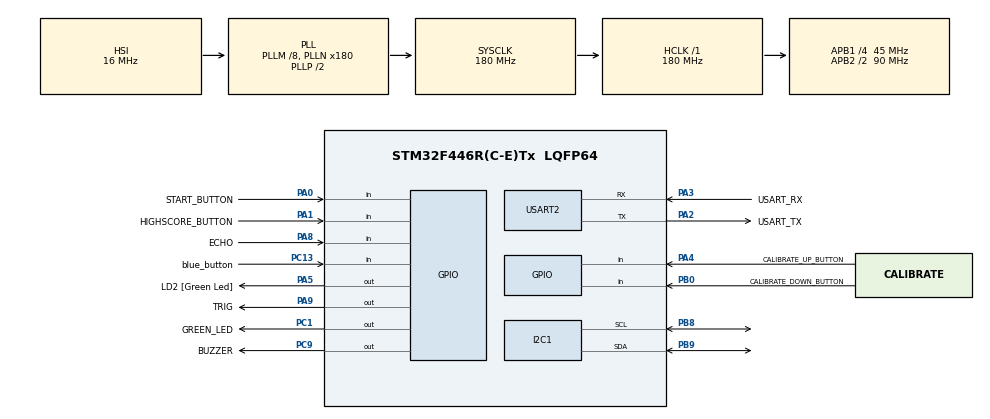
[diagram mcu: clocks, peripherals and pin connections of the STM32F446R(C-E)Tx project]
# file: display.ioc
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I2C1.I2C_Mode=I2C_Fast
Mcu.Family=STM32F4
Mcu.Name=STM32F446R(C-E)Tx
Mcu.Package=LQFP64
NVIC.PriorityGroup=NVIC_PRIORITYGROUP_0
NVIC.TIM2_IRQn=true\:0\:0\:false\:false\:true\:true\:true\:true
PA0-WKUP.GPIO_Label=START_BUTTON
PA0-WKUP.GPIO_PuPd=GPIO_PULLUP
PA0-WKUP.Signal=GPIO_Input
PA1.GPIO_Label=HIGHSCORE_BUTTON
PA1.GPIO_PuPd=GPIO_PULLUP
PA1.Signal=GPIO_Input
PA13.GPIO_Label=TMS
PA13.Mode=Serial_Wire
PA13.Signal=SYS_JTMS-SWDIO
PA14.GPIO_Label=TCK
PA14.Mode=Serial_Wire
PA14.Signal=SYS_JTCK-SWCLK
PA2.GPIO_Label=USART_TX
PA2.Mode=Asynchronous
PA2.Signal=USART2_TX
PA3.GPIO_Label=USART_RX
PA3.Mode=Asynchronous
PA3.Signal=USART2_RX
PA4.GPIO_Label=CALIBRATE_UP_BUTTON
PA4.Signal=GPIO_Input
PA5.GPIO_Label=LD2 [Green Led]
PA5.Signal=GPIO_Output
PA8.GPIO_Label=ECHO
PA8.Signal=GPIO_Input
PA9.GPIO_Label=TRIG
PA9.Signal=GPIO_Output
PB0.GPIO_Label=CALIBRATE_DOWN_BUTTON
PB0.Signal=GPIO_Input
PB3.GPIO_Label=SWO
PB3.Signal=SYS_JTDO-SWO
PB8.Mode=I2C
PB8.Signal=I2C1_SCL
PB9.Mode=I2C
PB9.Signal=I2C1_SDA
PC1.GPIO_Label=GREEN_LED
PC1.Signal=GPIO_Output
PC13.GPIO_Label=blue_button
PC13.Signal=GPIO_Input
PC14-OSC32_IN.Mode=LSE-External-Oscillator
PC14-OSC32_IN.Signal=RCC_OSC32_IN
PC15-OSC32_OUT.Mode=LSE-External-Oscillator
PC15-OSC32_OUT.Signal=RCC_OSC32_OUT
PC9.GPIO_Label=BUZZER
PC9.Signal=GPIO_Output
PH0-OSC_IN.Mode=HSE-External-Oscillator
PH0-OSC_IN.Signal=RCC_OSC_IN
PH1-OSC_OUT.Mode=HSE-External-Oscillator
PH1-OSC_OUT.Signal=RCC_OSC_OUT
ProjectManager.HeapSize=0x200
ProjectManager.StackSize=0x400
ProjectManager.TargetToolchain=STM32CubeIDE
RCC.48MHZClocksFreq_Value=84000000
RCC.AHBFreq_Value=180000000
RCC.APB1CLKDivider=RCC_HCLK_DIV4
RCC.APB1Freq_Value=45000000
RCC.APB1TimFreq_Value=90000000
RCC.APB2CLKDivider=RCC_HCLK_DIV2
RCC.APB2Freq_Value=90000000
RCC.APB2TimFreq_Value=180000000
RCC.CortexFreq_Value=180000000
RCC.FLatency-AdvancedSettings=FLASH_LATENCY_5
RCC.HCLKFreq_Value=180000000
RCC.HSE_VALUE=8000000
RCC.HSI_VALUE=16000000
RCC.PLLM=8
RCC.PLLN=180
RCC.SYSCLKFreq_VALUE=180000000
RCC.SYSCLKSource=RCC_SYSCLKSOURCE_PLLCLK
RCC.USBFreq_Value=180000000
RCC.VCOOutputFreq_Value=360000000
TIM1.Period=65535
TIM1.Prescaler=180-1
TIM2.Period=9000-1
TIM2.Prescaler=10000-1
USART2.VirtualMode=VM_ASYNC
VP_TIM1_VS_ClockSourceINT.Mode=Internal
VP_TIM2_VS_ClockSourceINT.Mode=Internal
board=NUCLEO-F446RE

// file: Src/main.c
/* USER CODE BEGIN Header */
/**
  ******************************************************************************
  * @file           : main.c
  * @brief          : Main program body
  ******************************************************************************
  * @attention
  *
  * Copyright (c) 2026 STMicroelectronics.
  * All rights reserved.
  *
  * This software is licensed under terms that can be found in the LICENSE file
  * in the root directory of this software component.
  * If no LICENSE file comes with this software, it is provided AS-IS.
  *
  ******************************************************************************
  */
/* USER CODE END Header */
#include "main.h"

/* USER CODE BEGIN Includes */
#include "ssd1306.h"
#include "ssd1306_tests.h"
#include "ssd1306_fonts.h"
#include "ssd1306_conf.h"
#include <stdio.h>
#include <string.h>
#include "FLASH_SECTOR_F4.h"
/* USER CODE END Includes */

/* USER CODE BEGIN PTD */
typedef enum {
	SCREEN_START,
	SCREEN_REP,
	SCREEN_DEBUG,
	SCREEN_HIGHSCORE,
	SCREEN_GAMEOVER
} Screen;
/* USER CODE END PTD */

I2C_HandleTypeDef hi2c1;

TIM_HandleTypeDef htim1;
TIM_HandleTypeDef htim2;

UART_HandleTypeDef huart2;

/* USER CODE BEGIN PV */
static int start_pressed = 0; // boolean
static int highscore_pressed = 0; // boolean
static int calibrate_down_pressed = 0; // boolean
static int calibrate_up_pressed = 0; // boolean
static int debug_pressed = 0; // boolean
static int canPushUp = 0; // boolean

// drawStart instance variables
static int xStart = 128;
static int speed = 2;

static Screen current_screen = SCREEN_START;
static int pushup_count = 0;
static uint32_t hiScore; // read by flash drive on system initialization
static int isGameOver = 0; // boolean
static int isHighScore = 0; // boolean
static const int startTime = 60;
static int countdown = startTime;
static int calibrate_up = 0;
static int calibrate_down = 0;

// Utrasonic sensor variables
static uint32_t pMillis;
static uint16_t distance  = 0;  // cm

/* USER CODE END PV */

void SystemClock_Config(void);
static void MX_GPIO_Init(void);
static void MX_USART2_UART_Init(void);
static void MX_I2C1_Init(void);
static void MX_TIM2_Init(void);
static void MX_TIM1_Init(void);
/* USER CODE BEGIN PFP */
static void drawReps(void);
static void drawStart(void);
static void drawHighScore(void);
static void drawGameOver(void);
static void drawTimer(void);
static void drawDistance(void);
static void drawCalibrations(void);
static int readStartButton(void);
static int readHighScoreButton(void);
static int readCalibrateDownButton(void);
static int readCalibrateUpButton(void);
static int readDebugButton(void);
void readUltraSonic(void);
static void buzz(int time);
static void checkForPushUp(void);
static void reset(void);

/* USER CODE END PFP */

int main(void)
{

  /* MCU Configuration--------------------------------------------------------*/

  /* Reset of all peripherals, Initializes the Flash interface and the Systick. */
  HAL_Init();

  /* Configure the system clock */
  SystemClock_Config();

  /* Initialize all configured peripherals */
  MX_GPIO_Init();
  MX_USART2_UART_Init();
  MX_I2C1_Init();
  MX_TIM2_Init();
  MX_TIM1_Init();
  /* USER CODE BEGIN 2 */
  ssd1306_Init();
  Flash_Read_Data(0x08060000, &hiScore, 5);
  HAL_TIM_Base_Start(&htim1);
  HAL_GPIO_WritePin(TRIG_GPIO_Port, TRIG_Pin, GPIO_PIN_RESET);  // pull the TRIG pin low initially
  buzz(15000);
  isGameOver = 0;
  /* USER CODE END 2 */

  /* Infinite loop */
  /* USER CODE BEGIN WHILE */
  while (1)
  {
	  switch (current_screen) {
		  case SCREEN_START:
			  readCalibrateUpButton();
			  readCalibrateDownButton();
			  readDebugButton();
			  drawStart();
			  if(readStartButton() == 1)
				  current_screen = SCREEN_REP;
			  else if(readHighScoreButton() == 1)
				  current_screen = SCREEN_HIGHSCORE;
			  else if (readDebugButton() == 1)
				  current_screen = SCREEN_DEBUG;
			  break;
		  case SCREEN_REP:
			  readUltraSonic();
			  checkForPushUp();
			  drawTimer();
			  drawReps();
			  if (countdown == 0)
				  current_screen = SCREEN_GAMEOVER;
			  else if (readStartButton() == 1) {
				  current_screen = SCREEN_START;
				  reset();
			  }
			  else if (readDebugButton() == 1)
				  current_screen = SCREEN_DEBUG;
			  break;
		  case SCREEN_DEBUG:
			  readCalibrateUpButton();
			  readCalibrateDownButton();
			  readUltraSonic();
			  drawDistance();
			  drawCalibrations();
			  if (readDebugButton() == 1)
				  current_screen = SCREEN_START;
			  break;
		  case SCREEN_HIGHSCORE:
			  drawHighScore();
			  if (readStartButton() == 1) {
				  current_screen = SCREEN_START;
				  reset();
			  }
			  break;
		  case SCREEN_GAMEOVER:
			  drawGameOver();
			  if (readStartButton() == 1) {
				  current_screen = SCREEN_START;
				  reset();
			  }
			  break;
	  }
  }

    /* USER CODE END WHILE */

}

void SystemClock_Config(void)
{
  RCC_OscInitTypeDef RCC_OscInitStruct = {0};
  RCC_ClkInitTypeDef RCC_ClkInitStruct = {0};

  /** Configure the main internal regulator output voltage
  */
  __HAL_RCC_PWR_CLK_ENABLE();
  __HAL_PWR_VOLTAGESCALING_CONFIG(PWR_REGULATOR_VOLTAGE_SCALE1);

  /** Initializes the RCC Oscillators according to the specified parameters
  * in the RCC_OscInitTypeDef structure.
  */
  RCC_OscInitStruct.OscillatorType = RCC_OSCILLATORTYPE_HSI;
  RCC_OscInitStruct.HSIState = RCC_HSI_ON;
  RCC_OscInitStruct.HSICalibrationValue = RCC_HSICALIBRATION_DEFAULT;
  RCC_OscInitStruct.PLL.PLLState = RCC_PLL_ON;
  RCC_OscInitStruct.PLL.PLLSource = RCC_PLLSOURCE_HSI;
  RCC_OscInitStruct.PLL.PLLM = 8;
  RCC_OscInitStruct.PLL.PLLN = 180;
  RCC_OscInitStruct.PLL.PLLP = RCC_PLLP_DIV2;
  RCC_OscInitStruct.PLL.PLLQ = 2;
  RCC_OscInitStruct.PLL.PLLR = 2;
  if (HAL_RCC_OscConfig(&RCC_OscInitStruct) != HAL_OK)
  {
    Error_Handler();
  }

  /** Activate the Over-Drive mode
  */
  if (HAL_PWREx_EnableOverDrive() != HAL_OK)
  {
    Error_Handler();
  }

  /** Initializes the CPU, AHB and APB buses clocks
  */
  RCC_ClkInitStruct.ClockType = RCC_CLOCKTYPE_HCLK|RCC_CLOCKTYPE_SYSCLK
                              |RCC_CLOCKTYPE_PCLK1|RCC_CLOCKTYPE_PCLK2;
  RCC_ClkInitStruct.SYSCLKSource = RCC_SYSCLKSOURCE_PLLCLK;
  RCC_ClkInitStruct.AHBCLKDivider = RCC_SYSCLK_DIV1;
  RCC_ClkInitStruct.APB1CLKDivider = RCC_HCLK_DIV4;
  RCC_ClkInitStruct.APB2CLKDivider = RCC_HCLK_DIV2;

  if (HAL_RCC_ClockConfig(&RCC_ClkInitStruct, FLASH_LATENCY_5) != HAL_OK)
  {
    Error_Handler();
  }
}

static void MX_I2C1_Init(void)
{

  hi2c1.Instance = I2C1;
  hi2c1.Init.ClockSpeed = 400000;
  hi2c1.Init.DutyCycle = I2C_DUTYCYCLE_2;
  hi2c1.Init.OwnAddress1 = 0;
  hi2c1.Init.AddressingMode = I2C_ADDRESSINGMODE_7BIT;
  hi2c1.Init.DualAddressMode = I2C_DUALADDRESS_DISABLE;
  hi2c1.Init.OwnAddress2 = 0;
  hi2c1.Init.GeneralCallMode = I2C_GENERALCALL_DISABLE;
  hi2c1.Init.NoStretchMode = I2C_NOSTRETCH_DISABLE;
  if (HAL_I2C_Init(&hi2c1) != HAL_OK)
  {
    Error_Handler();
  }

}

static void MX_TIM1_Init(void)
{

  TIM_ClockConfigTypeDef sClockSourceConfig = {0};
  TIM_MasterConfigTypeDef sMasterConfig = {0};

  htim1.Instance = TIM1;
  htim1.Init.Prescaler = 180-1;
  htim1.Init.CounterMode = TIM_COUNTERMODE_UP;
  htim1.Init.Period = 65535;
  htim1.Init.ClockDivision = TIM_CLOCKDIVISION_DIV1;
  htim1.Init.RepetitionCounter = 0;
  htim1.Init.AutoReloadPreload = TIM_AUTORELOAD_PRELOAD_DISABLE;
  if (HAL_TIM_Base_Init(&htim1) != HAL_OK)
  {
    Error_Handler();
  }
  sClockSourceConfig.ClockSource = TIM_CLOCKSOURCE_INTERNAL;
  if (HAL_TIM_ConfigClockSource(&htim1, &sClockSourceConfig) != HAL_OK)
  {
    Error_Handler();
  }
  sMasterConfig.MasterOutputTrigger = TIM_TRGO_RESET;
  sMasterConfig.MasterSlaveMode = TIM_MASTERSLAVEMODE_DISABLE;
  if (HAL_TIMEx_MasterConfigSynchronization(&htim1, &sMasterConfig) != HAL_OK)
  {
    Error_Handler();
  }

}

static void MX_TIM2_Init(void)
{

  TIM_ClockConfigTypeDef sClockSourceConfig = {0};
  TIM_MasterConfigTypeDef sMasterConfig = {0};

  htim2.Instance = TIM2;
  htim2.Init.Prescaler = 10000-1;
  htim2.Init.CounterMode = TIM_COUNTERMODE_UP;
  htim2.Init.Period = 9000-1;
  htim2.Init.ClockDivision = TIM_CLOCKDIVISION_DIV1;
  htim2.Init.AutoReloadPreload = TIM_AUTORELOAD_PRELOAD_DISABLE;
  if (HAL_TIM_Base_Init(&htim2) != HAL_OK)
  {
    Error_Handler();
  }
  sClockSourceConfig.ClockSource = TIM_CLOCKSOURCE_INTERNAL;
  if (HAL_TIM_ConfigClockSource(&htim2, &sClockSourceConfig) != HAL_OK)
  {
    Error_Handler();
  }
  sMasterConfig.MasterOutputTrigger = TIM_TRGO_RESET;
  sMasterConfig.MasterSlaveMode = TIM_MASTERSLAVEMODE_DISABLE;
  if (HAL_TIMEx_MasterConfigSynchronization(&htim2, &sMasterConfig) != HAL_OK)
  {
    Error_Handler();
  }

}

static void MX_USART2_UART_Init(void)
{

  huart2.Instance = USART2;
  huart2.Init.BaudRate = 115200;
  huart2.Init.WordLength = UART_WORDLENGTH_8B;
  huart2.Init.StopBits = UART_STOPBITS_1;
  huart2.Init.Parity = UART_PARITY_NONE;
  huart2.Init.Mode = UART_MODE_TX_RX;
  huart2.Init.HwFlowCtl = UART_HWCONTROL_NONE;
  huart2.Init.OverSampling = UART_OVERSAMPLING_16;
  if (HAL_UART_Init(&huart2) != HAL_OK)
  {
    Error_Handler();
  }

}

static void MX_GPIO_Init(void)
{
  GPIO_InitTypeDef GPIO_InitStruct = {0};

  /* GPIO Ports Clock Enable */
  __HAL_RCC_GPIOC_CLK_ENABLE();
  __HAL_RCC_GPIOH_CLK_ENABLE();
  __HAL_RCC_GPIOA_CLK_ENABLE();
  __HAL_RCC_GPIOB_CLK_ENABLE();

  /*Configure GPIO pin Output Level */
  HAL_GPIO_WritePin(GPIOC, GREEN_LED_Pin|BUZZER_Pin, GPIO_PIN_RESET);

  /*Configure GPIO pin Output Level */
  HAL_GPIO_WritePin(GPIOA, LD2_Pin|TRIG_Pin, GPIO_PIN_RESET);

  /*Configure GPIO pin : blue_button_Pin */
  GPIO_InitStruct.Pin = blue_button_Pin;
  GPIO_InitStruct.Mode = GPIO_MODE_INPUT;
  GPIO_InitStruct.Pull = GPIO_NOPULL;
  HAL_GPIO_Init(blue_button_GPIO_Port, &GPIO_InitStruct);

  /*Configure GPIO pins : GREEN_LED_Pin BUZZER_Pin */
  GPIO_InitStruct.Pin = GREEN_LED_Pin|BUZZER_Pin;
  GPIO_InitStruct.Mode = GPIO_MODE_OUTPUT_PP;
  GPIO_InitStruct.Pull = GPIO_NOPULL;
  GPIO_InitStruct.Speed = GPIO_SPEED_FREQ_LOW;
  HAL_GPIO_Init(GPIOC, &GPIO_InitStruct);

  /*Configure GPIO pins : START_BUTTON_Pin HIGHSCORE_BUTTON_Pin */
  GPIO_InitStruct.Pin = START_BUTTON_Pin|HIGHSCORE_BUTTON_Pin;
  GPIO_InitStruct.Mode = GPIO_MODE_INPUT;
  GPIO_InitStruct.Pull = GPIO_PULLUP;
  HAL_GPIO_Init(GPIOA, &GPIO_InitStruct);

  /*Configure GPIO pins : CALIBRATE_UP_BUTTON_Pin ECHO_Pin */
  GPIO_InitStruct.Pin = CALIBRATE_UP_BUTTON_Pin|ECHO_Pin;
  GPIO_InitStruct.Mode = GPIO_MODE_INPUT;
  GPIO_InitStruct.Pull = GPIO_NOPULL;
  HAL_GPIO_Init(GPIOA, &GPIO_InitStruct);

  /*Configure GPIO pins : LD2_Pin TRIG_Pin */
  GPIO_InitStruct.Pin = LD2_Pin|TRIG_Pin;
  GPIO_InitStruct.Mode = GPIO_MODE_OUTPUT_PP;
  GPIO_InitStruct.Pull = GPIO_NOPULL;
  GPIO_InitStruct.Speed = GPIO_SPEED_FREQ_LOW;
  HAL_GPIO_Init(GPIOA, &GPIO_InitStruct);

  /*Configure GPIO pin : CALIBRATE_DOWN_BUTTON_Pin */
  GPIO_InitStruct.Pin = CALIBRATE_DOWN_BUTTON_Pin;
  GPIO_InitStruct.Mode = GPIO_MODE_INPUT;
  GPIO_InitStruct.Pull = GPIO_NOPULL;
  HAL_GPIO_Init(CALIBRATE_DOWN_BUTTON_GPIO_Port, &GPIO_InitStruct);

}

/* USER CODE BEGIN 4 */
/**
 * @brief Performs necessary resets to start a new workout
 * @retval none
 */
static void reset(void) {
	current_screen = SCREEN_START;
	isGameOver = 0;
	isHighScore = 0;
	pushup_count = 0;
	countdown = startTime;
	canPushUp = 0;
	HAL_TIM_Base_Stop_IT(&htim2);
	HAL_GPIO_WritePin(GREEN_LED_GPIO_Port, GREEN_LED_Pin, GPIO_PIN_RESET);
}
/**
 * @brief Draws a countdown timer on the SSD1306 OLED
 * @retval none
 */
static void drawTimer(void) {
	// Clear screen
	ssd1306_Fill(Black);
	// Format time and write on screen
	int minutes = countdown / 60;
	int seconds = countdown - minutes*60;
	char str[10];
	if (seconds < 0)
		snprintf(str, 10, "0:00");
	else if (seconds < 10)
		snprintf(str, 10, "%d:0%d", minutes, seconds);
	else
		snprintf(str, 10, "%d:%d", minutes, seconds);
	ssd1306_SetCursor(0, 0);
	ssd1306_WriteString(str, Font_11x18, White);
}
/**
 * @brief Draws a scrolling start text on SSD1306 OLED
 * @retval none
 */
static void drawStart(void) {
	// Clear screen
	ssd1306_Fill(Black);
	// Moves x-position to the left by set speed
	xStart -= speed;
	// Draw text
	ssd1306_SetCursor(xStart, 19);
	ssd1306_WriteString("Press start!", Font_16x26, White);
	ssd1306_UpdateScreen();
}
/**
 * @brief Draws number of reps performed in middle of SSD1306 OLED
 * @retval none
 */
static void drawReps(void) {
	// Convert the push-up count to a writable string
	char str[10];
	snprintf(str, 10, "%d", pushup_count);
	int text_width = strlen(str) * 16;
	// Draw push-up count to the right center of screen
	ssd1306_SetCursor(80-text_width/2, 19);
	ssd1306_WriteString(str, Font_16x26, White);
	ssd1306_UpdateScreen();
}
/**
 * @brief Draws saved highscore in middle of SSD1306 OLED
 * @retval none
 */
static void drawHighScore(void) {
	ssd1306_Fill(Black);
	ssd1306_SetCursor(0, 0);
	ssd1306_WriteString("Current high score", Font_7x10, White);
	ssd1306_SetCursor(0, 27);
	char str[9];
	snprintf(str, 9, "%u reps", hiScore);
	ssd1306_WriteString(str, Font_16x26, White);
	ssd1306_UpdateScreen();
}
/**
 * @brief Draws final score and makes final beeps on SSD1306 OLED
 * @retval none
 */
static void drawGameOver(void) {
	if (isGameOver == 0) {
		for (int i = 0; i < 10; i++) {
			buzz(15000);
			HAL_Delay(50);
		}
		// check for high score
		if (pushup_count > hiScore) {
			hiScore = pushup_count;
			Flash_Write_Data(0x08060000, &hiScore, 5);
		}
		isGameOver = 1;
	}
	ssd1306_Fill(Black);
	ssd1306_SetCursor(0, 0);
	ssd1306_WriteString("Your score", Font_7x10, White);
	ssd1306_SetCursor(0, 27);
	char str[9];
	snprintf(str, 9, "%d reps", pushup_count);
	ssd1306_WriteString(str, Font_16x26, White);
	ssd1306_UpdateScreen();
}
/**
 * @brief Draws ultrasonic sensor read distance on SSD1306 OLED
 * @retval none
 */
static void drawDistance(void) {
	ssd1306_Fill(Black);
	ssd1306_SetCursor(0, 0);
	char str[30];
	snprintf(str, 30, "Distance: %d", distance);
	ssd1306_WriteString(str, Font_7x10, White);
}
/**
 * @brief Draws saved pushup calibrations on SSD1306 OLED
 * @retval none
 */
static void drawCalibrations(void) {
	ssd1306_SetCursor(0, 12);
	char str[30];
	snprintf(str, 30, "Up pos: %d", calibrate_up);
	ssd1306_WriteString(str, Font_7x10, White);
	ssd1306_SetCursor(0, 24);
	snprintf(str, 30, "Down pos: %d", calibrate_down);
	ssd1306_WriteString(str, Font_7x10, White);
	ssd1306_UpdateScreen();
}
/**
 * @brief Checks if highscore button is pushed
 * @retval 1 if pressed, 0 if not pressed
 */
static int readHighScoreButton(void) {
	// increments count when button is pressed (LOW -> HIGH ---- "Rising edge case")
	if (HAL_GPIO_ReadPin(HIGHSCORE_BUTTON_GPIO_Port, HIGHSCORE_BUTTON_Pin) == GPIO_PIN_SET && highscore_pressed == 0) {
		highscore_pressed = 1;
		return 1;
	}
	else if (HAL_GPIO_ReadPin(HIGHSCORE_BUTTON_GPIO_Port, HIGHSCORE_BUTTON_Pin) == GPIO_PIN_RESET && highscore_pressed == 1)
		highscore_pressed = 0;
	return 0;
}
/**
 * @brief Checks if start button is pushed
 * @retval 1 if pressed, 0 if not pressed
 */
static int readStartButton(void) {
	// starts timer when button is pressed (LOW -> HIGH ---- "Rising edge case")
	if (HAL_GPIO_ReadPin(START_BUTTON_GPIO_Port, START_BUTTON_Pin) == GPIO_PIN_RESET && start_pressed == 0) {
		start_pressed = 1;
		HAL_TIM_Base_Start_IT(&htim2);
		return 1;
	}
	else if (HAL_GPIO_ReadPin(START_BUTTON_GPIO_Port, START_BUTTON_Pin) == GPIO_PIN_SET && start_pressed == 1) {
		start_pressed = 0;
	}
	return 0;
}
/**
 * @brief Checks if debug button is pushed
 * @retval 1 if pressed, 0 if not pressed
 */
static int readDebugButton(void) {
	if (HAL_GPIO_ReadPin(blue_button_GPIO_Port, blue_button_Pin) == GPIO_PIN_SET && debug_pressed == 0) {
		debug_pressed = 1;
		return 1;
	}
	else if (HAL_GPIO_ReadPin(blue_button_GPIO_Port, blue_button_Pin) == GPIO_PIN_RESET && debug_pressed == 1) {
		debug_pressed = 0;
	}
	return 0;
}
/**
 * @brief Checks if calibrate down button is pushed
 * @retval 1 if pressed, 0 if not pressed
 */
static int readCalibrateDownButton(void) {
	if (HAL_GPIO_ReadPin(CALIBRATE_DOWN_BUTTON_GPIO_Port, CALIBRATE_DOWN_BUTTON_Pin) == GPIO_PIN_RESET && calibrate_down_pressed == 0) {
		readUltraSonic();
		calibrate_down_pressed = 1;
		calibrate_down = distance;
		buzz(15000);
		return 1;
	}
	else if (HAL_GPIO_ReadPin(CALIBRATE_DOWN_BUTTON_GPIO_Port, CALIBRATE_DOWN_BUTTON_Pin) == GPIO_PIN_SET && calibrate_down_pressed == 1) {
		calibrate_down_pressed = 0;
	}
	return 0;
}
/**
 * @brief Checks if calibrate up button is pushed
 * @retval 1 if pressed, 0 if not pressed
 */
static int readCalibrateUpButton(void) {
	if (HAL_GPIO_ReadPin(CALIBRATE_UP_BUTTON_GPIO_Port, CALIBRATE_UP_BUTTON_Pin) == GPIO_PIN_RESET && calibrate_up_pressed == 0) {
		readUltraSonic();
		calibrate_up_pressed = 1;
		calibrate_up = distance;
		buzz(15000);
		return 1;
	}
	else if (HAL_GPIO_ReadPin(CALIBRATE_UP_BUTTON_GPIO_Port, CALIBRATE_UP_BUTTON_Pin) == GPIO_PIN_SET && calibrate_up_pressed == 1) {
		calibrate_up_pressed = 0;
	}
	return 0;
}

/**
 * @brief Records the time it takes for sound waves to bounce back from ultrasonic sensor.
 * @retval none
 */
void readUltraSonic(void) {
	uint32_t Value1 = 0;
	uint32_t Value2 = 0;
	// Sends pulse to the ultrasonic sensor ("Hey ultrasonic...can you record distance please?")
	HAL_GPIO_WritePin(TRIG_GPIO_Port, TRIG_Pin, GPIO_PIN_SET);  // pull the TRIG pin HIGH
	__HAL_TIM_SET_COUNTER(&htim1, 0);
	while (__HAL_TIM_GET_COUNTER (&htim1) < 10);  // wait for 10 us
	HAL_GPIO_WritePin(TRIG_GPIO_Port, TRIG_Pin, GPIO_PIN_RESET);  // pull the TRIG pin low

	pMillis = HAL_GetTick(); // used this to avoid infinite while loop  (for timeout)
	// wait for the echo pin to go high
	while (!(HAL_GPIO_ReadPin (ECHO_GPIO_Port, ECHO_Pin)) && pMillis + 10 >  HAL_GetTick());
		Value1 = __HAL_TIM_GET_COUNTER (&htim1);

	pMillis = HAL_GetTick(); // used this to avoid infinite while loop (for timeout)
	// wait for the echo pin to go low
	while ((HAL_GPIO_ReadPin (ECHO_GPIO_Port, ECHO_Pin)) && pMillis + 50 > HAL_GetTick());
		Value2 = __HAL_TIM_GET_COUNTER (&htim1);

	distance = (Value2-Value1)* 0.034/2; // distance = time * speed of sound / 2 (divided by 2 because round trip)
	HAL_Delay(50);
}
/**
 * @brief Makes piezo buzzer do a small beep
 * @retval none
 */
static void buzz(int time) {
	HAL_GPIO_TogglePin(BUZZER_GPIO_Port, BUZZER_Pin);
	__HAL_TIM_SET_COUNTER(&htim1, 0);
	while (__HAL_TIM_GET_COUNTER (&htim1) < time);
	HAL_GPIO_TogglePin(BUZZER_GPIO_Port, BUZZER_Pin);
}
/**
 * @brief Counts a pushup when a full pushup is performed, and lights the LED when in down position
 */
static void checkForPushUp(void) {
	if (distance < calibrate_down + 5 && canPushUp == 0) {
		HAL_GPIO_WritePin(GREEN_LED_GPIO_Port, GREEN_LED_Pin, GPIO_PIN_SET);
		canPushUp = 1;
	}
	else if (distance < calibrate_up + 20 && distance > calibrate_up - 5 && canPushUp == 1) {
		HAL_GPIO_WritePin(GREEN_LED_GPIO_Port, GREEN_LED_Pin, GPIO_PIN_RESET);
		pushup_count++;
		buzz(15000);
		canPushUp = 0;
	}
}
void HAL_TIM_PeriodElapsedCallback(TIM_HandleTypeDef *htim) {
	if (htim->Instance == TIM2)
		countdown--;
}
/* USER CODE END 4 */

void Error_Handler(void)
{
  __disable_irq();
  while (1)
  {
  }
}
